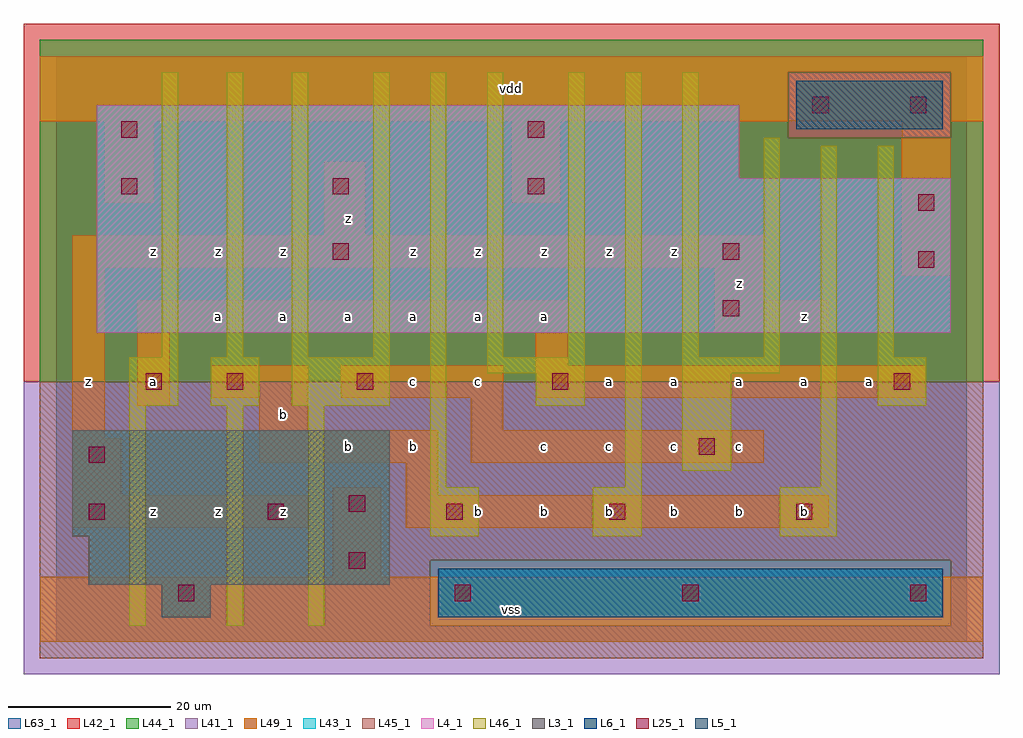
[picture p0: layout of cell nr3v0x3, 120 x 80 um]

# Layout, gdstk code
import gdstk
lib = gdstk.Library(unit=1e-6, precision=1e-09)
def R(c, l, rs):  # rectangles x0, y0, x1, y1
    for r in rs: c.add(gdstk.rectangle(r[:2], r[2:], *l))
def A(c, l, x, y, w, h, nx, ny, dx, dy):  # array of equal rectangles
    R(c, l, [(x+i*dx, y+j*dy, x+i*dx+w, y+j*dy+h) for i in range(nx) for j in range(ny)])
L3_1 = (3, 1)
L4_1 = (4, 1)
L5_1 = (5, 1)
L6_1 = (6, 1)
L25_1 = (25, 1)
L41_1 = (41, 1)
L42_1 = (42, 1)
L43_1 = (43, 1)
L44_1 = (44, 1)
L45_1 = (45, 1)
L46_1 = (46, 1)
L49_1 = (49, 1)
L63_1 = (63, 1)

nr3v0x3 = lib.new_cell('nr3v0x3')
R(nr3v0x3, L3_1, [(13,3,19,7), (4,7,41,13), (2,13,41,26)])
R(nr3v0x3, L4_1, [(5,38,110,57), (5,57,84,66)])
R(nr3v0x3, L5_1, [(91,63,109,69)])
R(nr3v0x3, L6_1, [(47,3,109,9), (47,3,109,9)])
A(nr3v0x3, L25_1, 49, 5, 2, 2, 3, 1, 28, 0)
A(nr3v0x3, L25_1, 4, 15, 2, 2, 3, 1, 22, 0)
R(nr3v0x3, L25_1, [(15,5,17,7), (36,9,38,11), (68,15,70,17), (91,15,93,17), (36,16,38,18), (4,22,6,24), (79,23,81,25), (11,31,13,33), (21,31,23,33), (37,31,39,33), (61,31,63,33), (103,31,105,33), (82,40,84,42), (106,46,108,48), (34,47,36,49), (82,47,84,49), (106,53,108,55), (8,55,10,57), (34,55,36,57), (58,55,60,57), (8,62,10,64), (58,62,60,64), (93,65,95,67), (105,65,107,67)])
R(nr3v0x3, L41_1, [(-4,-4,116,32)])
R(nr3v0x3, L42_1, [(-4,32,116,76)])
R(nr3v0x3, L43_1, [(13,3,19,7), (47,3,109,9), (4,7,41,13), (2,13,41,26), (5,38,110,57), (5,57,84,66), (91,63,109,69)])
R(nr3v0x3, L44_1, [(46,2,110,10), (-2,32,114,62), (-2,62,90,70), (110,62,114,70), (-2,70,114,74)])
R(nr3v0x3, L45_1, [(-2,-2,114,2), (-2,2,46,10), (110,2,114,10), (-2,10,114,32), (90,62,110,70)])
A(nr3v0x3, L46_1, 13, 35, 2, 35, 3, 1, 8, 0)
R(nr3v0x3, L46_1, [(9,2,11,29), (21,2,23,29), (31,2,33,29), (46,13,52,19), (66,13,72,19), (89,13,96,19), (46,19,48,70), (70,19,72,70), (94,19,96,61), (77,21,83,33), (9,29,15,35), (19,29,25,35), (29,29,41,35), (59,29,65,33), (101,29,107,35), (53,33,65,35), (77,33,89,35), (39,35,41,70), (53,35,55,70), (63,35,65,70), (77,35,79,70), (87,35,89,62), (101,35,103,61)])
R(nr3v0x3, L49_1, [(-2,0,114,8), (34,8,40,19), (2,14,31,18), (43,14,95,18), (2,18,8,25), (43,18,47,22), (25,22,47,26), (51,22,87,26), (2,25,6,46), (25,26,31,30), (51,26,55,30), (10,29,14,38), (19,30,31,34), (35,30,55,34), (59,30,107,34), (59,34,63,38), (10,38,63,42), (81,38,95,42), (81,42,87,46), (104,45,110,64), (2,46,87,50), (33,50,38,59), (6,54,12,64), (56,54,62,64), (-2,64,114,72)])
R(nr3v0x3, L63_1, [(0,0,112,72)])
nr3v0x3.add(gdstk.Label('z', (12,16), layer=49, texttype=1))
nr3v0x3.add(gdstk.Label('z', (4,32), layer=49, texttype=1))
nr3v0x3.add(gdstk.Label('a', (12,32), layer=49, texttype=1))
nr3v0x3.add(gdstk.Label('z', (12,48), layer=49, texttype=1))
nr3v0x3.add(gdstk.Label('z', (28,16), layer=49, texttype=1))
nr3v0x3.add(gdstk.Label('z', (20,16), layer=49, texttype=1))
nr3v0x3.add(gdstk.Label('b', (36,24), layer=49, texttype=1))
nr3v0x3.add(gdstk.Label('b', (28,28), layer=49, texttype=1))
nr3v0x3.add(gdstk.Label('a', (20,40), layer=49, texttype=1))
nr3v0x3.add(gdstk.Label('a', (36,40), layer=49, texttype=1))
nr3v0x3.add(gdstk.Label('a', (28,40), layer=49, texttype=1))
nr3v0x3.add(gdstk.Label('z', (20,48), layer=49, texttype=1))
nr3v0x3.add(gdstk.Label('z', (36,52), layer=49, texttype=1))
nr3v0x3.add(gdstk.Label('z', (28,48), layer=49, texttype=1))
nr3v0x3.add(gdstk.Label('vss', (56,4), layer=49, texttype=1))
nr3v0x3.add(gdstk.Label('b', (60,16), layer=49, texttype=1))
nr3v0x3.add(gdstk.Label('b', (52,16), layer=49, texttype=1))
nr3v0x3.add(gdstk.Label('b', (44,24), layer=49, texttype=1))
nr3v0x3.add(gdstk.Label('c', (60,24), layer=49, texttype=1))
nr3v0x3.add(gdstk.Label('c', (52,32), layer=49, texttype=1))
nr3v0x3.add(gdstk.Label('c', (44,32), layer=49, texttype=1))
nr3v0x3.add(gdstk.Label('a', (44,40), layer=49, texttype=1))
nr3v0x3.add(gdstk.Label('a', (60,40), layer=49, texttype=1))
nr3v0x3.add(gdstk.Label('a', (52,40), layer=49, texttype=1))
nr3v0x3.add(gdstk.Label('z', (44,48), layer=49, texttype=1))
nr3v0x3.add(gdstk.Label('z', (60,48), layer=49, texttype=1))
nr3v0x3.add(gdstk.Label('z', (52,48), layer=49, texttype=1))
nr3v0x3.add(gdstk.Label('vdd', (56,68), layer=49, texttype=1))
nr3v0x3.add(gdstk.Label('b', (84,16), layer=49, texttype=1))
nr3v0x3.add(gdstk.Label('b', (76,16), layer=49, texttype=1))
nr3v0x3.add(gdstk.Label('b', (68,16), layer=49, texttype=1))
nr3v0x3.add(gdstk.Label('c', (68,24), layer=49, texttype=1))
nr3v0x3.add(gdstk.Label('c', (84,24), layer=49, texttype=1))
nr3v0x3.add(gdstk.Label('c', (76,24), layer=49, texttype=1))
nr3v0x3.add(gdstk.Label('a', (84,32), layer=49, texttype=1))
nr3v0x3.add(gdstk.Label('a', (76,32), layer=49, texttype=1))
nr3v0x3.add(gdstk.Label('a', (68,32), layer=49, texttype=1))
nr3v0x3.add(gdstk.Label('z', (84,44), layer=49, texttype=1))
nr3v0x3.add(gdstk.Label('z', (68,48), layer=49, texttype=1))
nr3v0x3.add(gdstk.Label('z', (76,48), layer=49, texttype=1))
nr3v0x3.add(gdstk.Label('b', (92,16), layer=49, texttype=1))
nr3v0x3.add(gdstk.Label('a', (100,32), layer=49, texttype=1))
nr3v0x3.add(gdstk.Label('a', (92,32), layer=49, texttype=1))
nr3v0x3.add(gdstk.Label('z', (92,40), layer=49, texttype=1))

lib.write_gds('nr3v0x3.gds')
